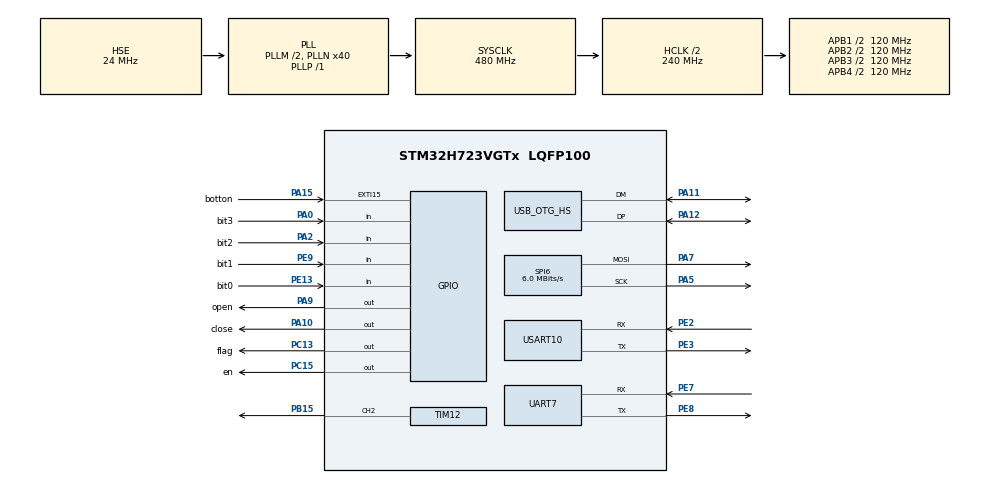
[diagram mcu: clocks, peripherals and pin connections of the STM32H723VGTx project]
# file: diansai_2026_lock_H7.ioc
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CORTEX_M7.default_mode_Activation=1
Mcu.Family=STM32H7
Mcu.Name=STM32H723VGTx
Mcu.Package=LQFP100
NVIC.OTG_HS_IRQn=true\:0\:0\:false\:false\:true\:true\:true\:true
NVIC.PriorityGroup=NVIC_PRIORITYGROUP_4
NVIC.TIM1_UP_IRQn=true\:0\:0\:false\:false\:true\:true\:true\:true
NVIC.USART10_IRQn=true\:0\:0\:false\:false\:true\:true\:true\:true
PA0.GPIO_Label=bit3
PA0.GPIO_PuPd=GPIO_PULLUP
PA0.Signal=GPIO_Input
PA10.GPIO_Label=close
PA10.Signal=GPIO_Output
PA11.Mode=Device_Only_FS
PA11.Signal=USB_OTG_HS_DM
PA12.Mode=Device_Only_FS
PA12.Signal=USB_OTG_HS_DP
PA13(JTMS/SWDIO).Mode=Serial_Wire
PA13(JTMS/SWDIO).Signal=DEBUG_JTMS-SWDIO
PA14(JTCK/SWCLK).Mode=Serial_Wire
PA14(JTCK/SWCLK).Signal=DEBUG_JTCK-SWCLK
PA15(JTDI).GPIO_Label=botton
PA15(JTDI).Signal=GPXTI15
PA2.GPIO_Label=bit2
PA2.GPIO_PuPd=GPIO_PULLUP
PA2.Signal=GPIO_Input
PA5.Mode=TX_Only_Simplex_Unidirect_Master
PA5.Signal=SPI6_SCK
PA7.Mode=TX_Only_Simplex_Unidirect_Master
PA7.Signal=SPI6_MOSI
PA9.GPIO_Label=open
PA9.Signal=GPIO_Output
PB15.Signal=S_TIM12_CH2
PC13.GPIO_Label=flag
PC13.Signal=GPIO_Output
PC15-OSC32_OUT.GPIO_Label=en
PC15-OSC32_OUT.Signal=GPIO_Output
PE13.GPIO_Label=bit0
PE13.GPIO_PuPd=GPIO_PULLUP
PE13.Signal=GPIO_Input
PE2.Mode=Asynchronous
PE2.Signal=USART10_RX
PE3.Mode=Asynchronous
PE3.Signal=USART10_TX
PE7.Mode=Asynchronous
PE7.Signal=UART7_RX
PE8.Mode=Asynchronous
PE8.Signal=UART7_TX
PE9.GPIO_Label=bit1
PE9.GPIO_PuPd=GPIO_PULLUP
PE9.Signal=GPIO_Input
PH0-OSC_IN.Mode=HSE-External-Oscillator
PH0-OSC_IN.Signal=RCC_OSC_IN
PH1-OSC_OUT.Mode=HSE-External-Oscillator
PH1-OSC_OUT.Signal=RCC_OSC_OUT
ProjectManager.HeapSize=0x200
ProjectManager.StackSize=0x400
ProjectManager.TargetToolchain=MDK-ARM V5.32
RCC.ADCFreq_Value=48375000
RCC.APB1Freq_Value=120000000
RCC.APB2Freq_Value=120000000
RCC.APB3Freq_Value=120000000
RCC.APB4Freq_Value=120000000
RCC.CortexFreq_Value=480000000
RCC.D1PPRE=RCC_APB3_DIV2
RCC.D2PPRE1=RCC_APB1_DIV2
RCC.D2PPRE2=RCC_APB2_DIV2
RCC.D3PPRE=RCC_APB4_DIV2
RCC.DIVM1=2
RCC.DIVN1=40
RCC.DIVP1=1
RCC.HCLKFreq_Value=240000000
RCC.HPRE=RCC_HCLK_DIV2
RCC.HSE_VALUE=24000000
RCC.PLL2FRACN=0
RCC.PLL3FRACN=0
RCC.PLLFRACN=0
RCC.PLLSourceVirtual=RCC_PLLSOURCE_HSE
RCC.SPI6CLockSelection=RCC_SPI6CLKSOURCE_HSE
RCC.SYSCLKFreq_VALUE=480000000
RCC.SYSCLKSource=RCC_SYSCLKSOURCE_PLLCLK
RCC.USBCLockSelection=RCC_USBCLKSOURCE_HSI48
RCC.USBFreq_Value=48000000
SH.S_TIM12_CH2.0=TIM12_CH2,PWM Generation2 CH2
SPI6.BaudRatePrescaler=SPI_BAUDRATEPRESCALER_4
SPI6.CLKPhase=SPI_PHASE_2EDGE
SPI6.CalculateBaudRate=6.0 MBits/s
SPI6.DataSize=SPI_DATASIZE_8BIT
SPI6.Direction=SPI_DIRECTION_2LINES_TXONLY
SPI6.Mode=SPI_MODE_MASTER
SPI6.VirtualType=VM_MASTER
TIM1.Period=50000-1
TIM1.Prescaler=480-1
TIM12.AutoReloadPreload=TIM_AUTORELOAD_PRELOAD_ENABLE
TIM12.Channel-PWM\ Generation2\ CH2=TIM_CHANNEL_2
TIM12.Period=2000-1
TIM12.Prescaler=24-1
TIM12.Pulse-PWM\ Generation2\ CH2=1
USART10.VirtualMode=VM_ASYNC
USB_DEVICE.CLASS_NAME_HS=CDC
USB_DEVICE.VirtualMode=Cdc
USB_DEVICE.VirtualModeHS=Cdc_HS
USB_OTG_HS.VirtualMode-Device_Only_FS=Device_Only_FS
VP_MEMORYMAP_VS_MEMORYMAP.Mode=CurAppReg
VP_TIM1_VS_ClockSourceINT.Mode=Internal
VP_USB_DEVICE_VS_USB_DEVICE_CDC_HS.Mode=CDC_HS
board=custom

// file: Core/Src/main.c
/* USER CODE BEGIN Header */
/**
  ******************************************************************************
  * @file           : main.c
  * @brief          : Main program body
  ******************************************************************************
  * @attention
  *
  * Copyright (c) 2026 STMicroelectronics.
  * All rights reserved.
  *
  * This software is licensed under terms that can be found in the LICENSE file
  * in the root directory of this software component.
  * If no LICENSE file comes with this software, it is provided AS-IS.
  *
  ******************************************************************************
  */
/* USER CODE END Header */
#include "main.h"
#include "spi.h"
#include "tim.h"
#include "usart.h"
#include "usb_device.h"
#include "gpio.h"

/* USER CODE BEGIN Includes */
#include "ws2812.h"
#include "buzzer_driver.h"
/* USER CODE END Includes */

/* USER CODE BEGIN PV */
volatile uint8_t id_receive = 0xFF;
uint8_t id_set = 0;
volatile data_packet_t data_packet = {0};
volatile key_data_t key_data = {0};
volatile uint8_t use_raspi = 1;  /* 1=树莓派数据(USB CDC), 0=UWB模块数据(UART10) */
volatile uint8_t raspi_first_beep = 0;  /* 0=等待首次数据, 1=待蜂鸣, 2=已完成 */
extern uint8_t rx_buffer[];
extern uint8_t rx_buffer2[];

/* WS2812 灯控标志（ISR 写，主循环读） */
extern volatile uint8_t ws2812_update;
extern volatile uint8_t ws2812_r;
extern volatile uint8_t ws2812_g;
extern volatile uint8_t ws2812_b;
extern volatile uint8_t ws2812_last_r;
extern volatile uint8_t ws2812_last_g;
extern volatile uint8_t ws2812_last_b;
/* USER CODE END PV */

void SystemClock_Config(void);
static void MPU_Config(void);

int main(void)
{

  /* MPU Configuration--------------------------------------------------------*/
  MPU_Config();

  /* MCU Configuration--------------------------------------------------------*/

  /* Reset of all peripherals, Initializes the Flash interface and the Systick. */
  HAL_Init();

  /* Configure the system clock */
  SystemClock_Config();

  /* Initialize all configured peripherals */
  MX_GPIO_Init();
  MX_TIM1_Init();
  MX_UART7_Init();
  MX_USART10_UART_Init();
  MX_SPI6_Init();
  MX_TIM12_Init();
  MX_USB_DEVICE_Init();
  /* USER CODE BEGIN 2 */
	/* 清空 USART10 RX 残留，避免字节错位导致永久偏移 */
	/* 空闲帧分包接收 UWB 变长数据包（0x2001=37B / 0x2002=16B） */
	HAL_UARTEx_ReceiveToIdle_IT(&huart10, rx_buffer, 64);
	// 开启TIM1 更新中断
	HAL_TIM_Base_Start_IT(&htim1);
  // 开启蜂鸣器
  HAL_TIM_PWM_Start(&htim12, TIM_CHANNEL_2);
  /* 上电测试音：响 300ms 验证蜂鸣器硬件正常 */
  Buzzer_Play(BUZZER_FREQ_C4, 100);
  HAL_Delay(300);
  Buzzer_Stop();
  /* 初始化 flag 引脚：默认树莓派模式 → 高电平 */
  HAL_GPIO_WritePin(flag_GPIO_Port, flag_Pin, GPIO_PIN_SET);
  /* 使能 botton 按键的 EXTI 中断（PA15 → EXTI15_10） */
  HAL_NVIC_SetPriority(EXTI15_10_IRQn, 2, 0);
  HAL_NVIC_EnableIRQ(EXTI15_10_IRQn);
  HAL_GPIO_WritePin(en_GPIO_Port,en_Pin,GPIO_PIN_SET);
  /* USER CODE END 2 */

  /* Infinite loop */
  while (1)
  {

    /* USER CODE BEGIN 3 */
    /* ═══════════════════════════════════════════════════════════════
     * 测试模式：手动注入数据，不依赖串口/UWB
     * 每 5 秒自动轮转一个场景，测试 LED + 蜂鸣器动作
     * 测试完成后将 #if 1 改为 #if 0 即可关闭
     * ═══════════════════════════════════════════════════════════════ */
#if 0
    {
        static uint8_t  test_phase = 0;
        static uint32_t last_tick  = 0;
        uint32_t now = HAL_GetTick();

        if (now - last_tick >= 1000)   /* 每 1 秒切换场景 */
        {
            last_tick = now;

            switch (test_phase)
            {
            case 0:  /* 无钥匙 → LED 灭 */
                id_receive             = 0xFF;
                data_packet.if_detect  = 0;
                data_packet.distance   = 0.0f;
                data_packet.angle      = 0.0f;
                break;

            case 1:  /* 感应区 ≥200cm → 蓝灯 */
                id_receive             = id_set;
                data_packet.if_detect  = 1;
                data_packet.distance   = 250.0f;
                data_packet.angle      = 45.0f;
                break;

            case 2:  /* 迎宾区 100~200cm → 黄灯 + 升调（感应→迎宾） */
                id_receive             = id_set;
                data_packet.if_detect  = 1;
                data_packet.distance   = 150.0f;
                data_packet.angle      = 30.0f;
                break;

            case 3:  /* 开锁区 ≤100cm → 绿灯 */
                id_receive             = id_set;
                data_packet.if_detect  = 1;
                data_packet.distance   = 50.0f;
                data_packet.angle      = 15.0f;
                break;

            case 4:  /* 迎宾区 → 黄灯 */
                id_receive             = id_set;
                data_packet.if_detect  = 1;
                data_packet.distance   = 150.0f;
                data_packet.angle      = 30.0f;
                break;

            case 5:  /* 感应区 → 蓝灯 + 降调（迎宾→感应） */
                id_receive             = id_set;
                data_packet.if_detect  = 1;
                data_packet.distance   = 250.0f;
                data_packet.angle      = 45.0f;
                break;

            case 6:  /* ID 不匹配 → 红灯 */
                {
                    uint8_t fake_id = (id_set == 0) ? 1 : 0; /* 故意错 */
                    id_receive             = fake_id;
                    data_packet.if_detect  = 1;
                    data_packet.distance   = 100.0f;
                    data_packet.angle      = 0.0f;
                }
                break;
            }

            test_phase++;
            if (test_phase > 6) { test_phase = 0; }
        }
    }
#endif

    /* 首次收到树莓派有效串口数据 → 蜂鸣器确认（高音短促，与开机自检低音区分） */
    if (raspi_first_beep == 1)
    {
        raspi_first_beep = 2;
        Buzzer_Play(BUZZER_FREQ_E6, 100);
        HAL_Delay(150);
        Buzzer_Stop();
    }

    /* WS2812 灯控：ISR 设标志，主循环执行 SPI 传输 */
    if (ws2812_update)
    {
        ws2812_update = 0;
        WS2812_Ctrl(ws2812_r, ws2812_g, ws2812_b);
        /* 记录本次实际写入的 RGB，供 ISR 判断是否需要下次刷新 */
        ws2812_last_r = ws2812_r;
        ws2812_last_g = ws2812_g;
        ws2812_last_b = ws2812_b;
    }
  }
  /* USER CODE END 3 */
}

void SystemClock_Config(void)
{
  RCC_OscInitTypeDef RCC_OscInitStruct = {0};
  RCC_ClkInitTypeDef RCC_ClkInitStruct = {0};

  /** Supply configuration update enable
  */
  HAL_PWREx_ConfigSupply(PWR_LDO_SUPPLY);

  /** Configure the main internal regulator output voltage
  */
  __HAL_PWR_VOLTAGESCALING_CONFIG(PWR_REGULATOR_VOLTAGE_SCALE0);

  while(!__HAL_PWR_GET_FLAG(PWR_FLAG_VOSRDY)) {}

  /** Initializes the RCC Oscillators according to the specified parameters
  * in the RCC_OscInitTypeDef structure.
  */
  RCC_OscInitStruct.OscillatorType = RCC_OSCILLATORTYPE_HSI48|RCC_OSCILLATORTYPE_HSE;
  RCC_OscInitStruct.HSEState = RCC_HSE_ON;
  RCC_OscInitStruct.HSI48State = RCC_HSI48_ON;
  RCC_OscInitStruct.PLL.PLLState = RCC_PLL_ON;
  RCC_OscInitStruct.PLL.PLLSource = RCC_PLLSOURCE_HSE;
  RCC_OscInitStruct.PLL.PLLM = 2;
  RCC_OscInitStruct.PLL.PLLN = 40;
  RCC_OscInitStruct.PLL.PLLP = 1;
  RCC_OscInitStruct.PLL.PLLQ = 2;
  RCC_OscInitStruct.PLL.PLLR = 2;
  RCC_OscInitStruct.PLL.PLLRGE = RCC_PLL1VCIRANGE_3;
  RCC_OscInitStruct.PLL.PLLVCOSEL = RCC_PLL1VCOWIDE;
  RCC_OscInitStruct.PLL.PLLFRACN = 0;
  if (HAL_RCC_OscConfig(&RCC_OscInitStruct) != HAL_OK)
  {
    Error_Handler();
  }

  /** Initializes the CPU, AHB and APB buses clocks
  */
  RCC_ClkInitStruct.ClockType = RCC_CLOCKTYPE_HCLK|RCC_CLOCKTYPE_SYSCLK
                              |RCC_CLOCKTYPE_PCLK1|RCC_CLOCKTYPE_PCLK2
                              |RCC_CLOCKTYPE_D3PCLK1|RCC_CLOCKTYPE_D1PCLK1;
  RCC_ClkInitStruct.SYSCLKSource = RCC_SYSCLKSOURCE_PLLCLK;
  RCC_ClkInitStruct.SYSCLKDivider = RCC_SYSCLK_DIV1;
  RCC_ClkInitStruct.AHBCLKDivider = RCC_HCLK_DIV2;
  RCC_ClkInitStruct.APB3CLKDivider = RCC_APB3_DIV2;
  RCC_ClkInitStruct.APB1CLKDivider = RCC_APB1_DIV2;
  RCC_ClkInitStruct.APB2CLKDivider = RCC_APB2_DIV2;
  RCC_ClkInitStruct.APB4CLKDivider = RCC_APB4_DIV2;

  if (HAL_RCC_ClockConfig(&RCC_ClkInitStruct, FLASH_LATENCY_3) != HAL_OK)
  {
    Error_Handler();
  }
}

 /* MPU Configuration */

void MPU_Config(void)
{
  MPU_Region_InitTypeDef MPU_InitStruct = {0};

  /* Disables the MPU */
  HAL_MPU_Disable();

  /** Initializes and configures the Region and the memory to be protected
  */
  MPU_InitStruct.Enable = MPU_REGION_ENABLE;
  MPU_InitStruct.Number = MPU_REGION_NUMBER0;
  MPU_InitStruct.BaseAddress = 0x0;
  MPU_InitStruct.Size = MPU_REGION_SIZE_4GB;
  MPU_InitStruct.SubRegionDisable = 0x87;
  MPU_InitStruct.TypeExtField = MPU_TEX_LEVEL0;
  MPU_InitStruct.AccessPermission = MPU_REGION_NO_ACCESS;
  MPU_InitStruct.DisableExec = MPU_INSTRUCTION_ACCESS_DISABLE;
  MPU_InitStruct.IsShareable = MPU_ACCESS_SHAREABLE;
  MPU_InitStruct.IsCacheable = MPU_ACCESS_NOT_CACHEABLE;
  MPU_InitStruct.IsBufferable = MPU_ACCESS_NOT_BUFFERABLE;

  HAL_MPU_ConfigRegion(&MPU_InitStruct);
  /* Enables the MPU */
  HAL_MPU_Enable(MPU_PRIVILEGED_DEFAULT);

}

void Error_Handler(void)
{
  __disable_irq();
  while (1)
  {
  }
}
